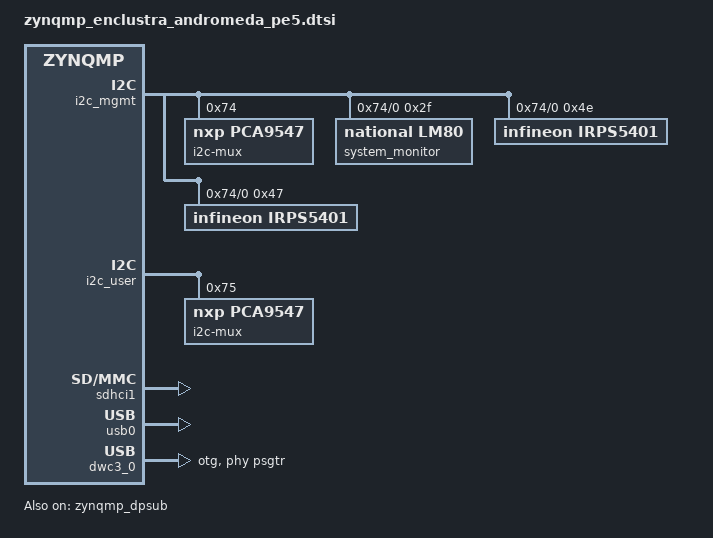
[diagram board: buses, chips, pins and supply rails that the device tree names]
#include <dt-bindings/phy/phy.h>

&i2c_mgmt {
	i2c-mux@74 {
		compatible = "nxp,pca9547";
		reg = <0x74>;
		#address-cells = <1>;
		#size-cells = <0>;

		i2c-mux@0 {
			reg = <0>;
			ioexpander0: gpio@20 {
				status = "disabled";
				compatible = "nxp,pcal6416";
				reg = <0x20>;
				gpio-controller;
				#gpio-cells = <2>;
			};
			ioexpander1: gpio@21 {
				status = "disabled";
				compatible = "nxp,pcal6416";
				reg = <0x21>;
				gpio-controller;
				#gpio-cells = <2>;
			};
			fanctl: lm96063@4c {
				status = "disabled";
				compatible = "national,lm96163";
				reg = <0x4c>;
			};	
			system_monitor: lm96080@2f {
				status = "okay";
				compatible = "national,lm80";
				reg = <0x2f>;
			};
			irps5401@46 {
				status = "okay";
				compatible = "infineon,irps5401";
				reg = <0x4e>;
			};
			irps5401@52 {
				status = "okay";
				compatible = "infineon,irps5401";
				reg = <0x47>;
			};
			eeprom@56 {
				status = "disabled";
				compatible = "atmel,24c128";
				reg = <0x56>;	
			};
			si5332: si5332@6a {
				status = "disabled";
				reg = <0x6a>;
			};
		};
		i2c-mux@2 {
			reg = <2>;
			ioexpander2: gpio@20 {
				status = "disabled";
				compatible = "nxp,pcal6416";
				reg = <0x20>;
				gpio-controller;
				#gpio-cells = <2>;
			};
		};
		i2c-mux@4 {
			reg = <4>;
			sfp28_expander: gpio@20 {
				status = "disabled";
				compatible = "nxp,pcal6416";
				reg = <0x20>;
				gpio-controller;
				#gpio-cells = <2>;
			};
		};
	};
};

&i2c_user {
	i2c-mux@75 {
		compatible = "nxp,pca9547";
		reg = <0x75>;
		#address-cells = <1>;
		#size-cells = <0>;
		i2c-mux@5 {
			reg = <5>;
			si5395_0: si5395-0@68 {
				status = "disabled";
				reg = <0x68>;
			};
			si5395_1: si5395-1@68 {
				status = "disabled";
				reg = <0x68>;
			};
		};
	};
};

&sdhci1 {
	status = "okay";
	/* no-1-8-v; */	/* for 1.0 silicon */
	wp-inverted;
	xlnx,mio_bank = <1>;
};

&usb0 {
	status = "okay";
};

&dwc3_0 {
	status = "okay";
	dr_mode = "otg";
	snps,usb3_lpm_capable;
	phy-names = "usb3-phy";
	phys = <&psgtr 2 PHY_TYPE_USB3 0 2>;
	maximum-speed = "super-speed";
};

&zynqmp_dpsub {
	status = "okay";
	phy-names = "dp-phy0", "dp-phy1";
	phys = <&psgtr 1 PHY_TYPE_DP 0 3>, <&psgtr 0 PHY_TYPE_DP 1 3>;
	dma-names = "vid0", "vid1", "vid2", "gfx0";
	dmas = <&zynqmp_dpdma 0>, <&zynqmp_dpdma 1>, <&zynqmp_dpdma 2>, <&zynqmp_dpdma 3>;
};

&zynqmp_dpdma {
	status = "okay";
};
